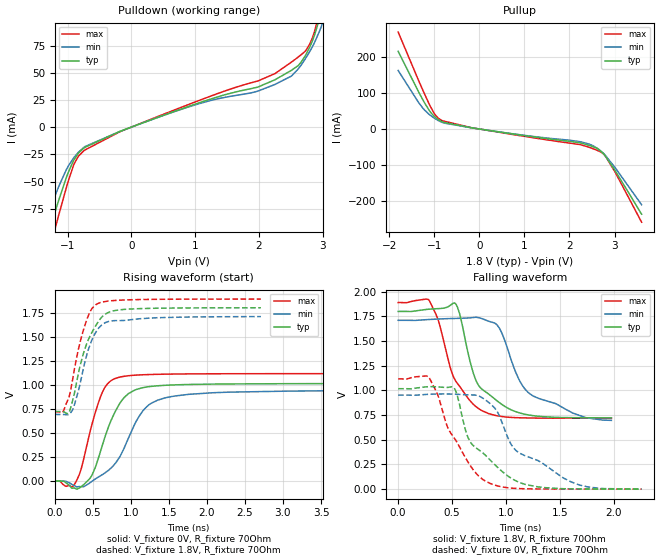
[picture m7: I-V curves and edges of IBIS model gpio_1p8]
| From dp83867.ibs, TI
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|   gpio_1p8 Model
[Model]   gpio_1p8
Model_type   Output
Polarity   Non-Inverting
Vmeas = 0.9
Vref = 0
Cref = 5pF
Rref = 70
|   typ   min   max
|   (nom PVT)   (fast PVT)   (slow PVT)
C_comp   1.627e-12   1.095e-12   1.665e-12
| Where nom  PVT is Nominal Process, 1.8V, 27C
|   Fast PVT is Strong Process,  1.89V, -40C
|   Slow PVT is Weak Process,   1.71V, 125C
[Voltage Range]   1.8   1.71   1.89
|Junction Temperature
[Temperature Range]   27   125   -40
[Pullup Reference]   1.8   1.71   1.89
[Pulldown Reference]   0   0   0
[Power Clamp Reference]   1.8   1.71   1.89
[GND Clamp Reference]   0   0   0
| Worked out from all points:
|   slope of the pulldown table from 0 to 0.27 V, typ, clamps not added: 46.2 ohm
|   slope of the pullup table from 0 to 0.27 V, typ, clamps not added: 53 ohm
|   falling waveform, V_fixture 1.8V, R_fixture 70Ohm: 20-80 % time 260ps typ, 373ps min, 240ps max; typ from 1.8 V to 0.722 V
|   rising waveform, V_fixture 0V, R_fixture 70Ohm: 20-80 % time 299ps typ, 391ps min, 232ps max; typ from 0 V to 1.01 V
|   rising waveform, V_fixture 1.8V, R_fixture 70Ohm: 20-80 % time 252ps typ, 217ps min, 201ps max; typ from 0.722 V to 1.8 V
|   falling waveform, V_fixture 0V, R_fixture 70Ohm: 20-80 % time 361ps typ, 502ps min, 293ps max; typ from 1.02 V to 0 V
[Pulldown]
|   Voltage   I(typ)   I(min)   I(max)
-1.8V     -197.7mA   -164.7mA   -231.2mA
-1.239V   -86.17mA   -69.87mA   -103.2mA
-1.172V   -73.47mA   -59.59mA   -88.27mA
-898.5mV  -29.94mA   -27.91mA   -34.03mA
-724.4mV  -18.49mA   -17.82mA   -20.95mA
837mV     17.77mA    17.4mA     19.44mA
2.252V    43.51mA    39.22mA    49.2mA
2.619V    56.63mA    53.54mA    64.47mA
2.747V    67.44mA    64.47mA    71.13mA
2.875V    84.71mA    77.88mA    88.12mA
2.978V    105mA      92.03mA    111.6mA
3.6V      261.3mA    214.8mA    299mA
[Pullup]
|   Voltage   I(typ)   I(min)   I(max)
-1.8V     216mA      162.8mA    269.7mA
-1.251V   80.98mA    57.9mA     107.5mA
-1.017V   37.29mA    31.91mA    46.96mA
-898.5mV  25.08mA    22.66mA    28.83mA
-781.2mV  18.24mA    16.48mA    21.77mA
-180mV    3.463mA    3.409mA    3.825mA
2.232V    -38.43mA   -35.31mA   -43.38mA
2.513V    -48.62mA   -46.02mA   -54.42mA
2.725V    -64.94mA   -64.46mA   -66.11mA
2.799V    -75.76mA   -73.97mA   -75.53mA
3.014V    -115.8mA   -107.8mA   -120.1mA
3.6V      -237mA     -210.8mA   -259.4mA
[Ramp]
R_load = 70
|   typ   min   max
dV/dt_r   0.609189/3.00493e-10   0.569268/3.8961e-10   0.669761/2.31793e-10
dV/dt_f   0.646877/2.60652e-10   0.611271/3.86232e-10   0.702931/2.39873e-10
[Falling Waveform]
V_fixture = 1.8V
V_fixture_min = 1.71V
V_fixture_max = 1.89V
R_fixture = 70Ohm
|   Time   V(typ)   V(min)   V(max)
0s        1.8V       1.71V      1.89V
290ps     1.823V     1.718V     1.907V
370ps     1.828V     1.723V     1.719V
530ps     1.882V     1.729V     1.103V
700ps     1.167V     1.739V     857mV
780ps     1.01V      1.726V     793.5mV
940ps     876mV      1.63V      738.8mV
1.09ns    785.2mV    1.187V     723.9mV
1.21ns    751.4mV    976.3mV    720.6mV
1.98ns    721.8mV    696.4mV    718.4mV
[Rising Waveform]
V_fixture = 0V
V_fixture_min = 0V
V_fixture_max = 0V
R_fixture = 70Ohm
|   Time   V(typ)   V(min)   V(max)
0s        50.3uV     144.3uV    36.17uV
250ps     -70.83mV   -43.73mV   -44.11mV
340ps     -64.05mV   -58.38mV   107.5mV
460ps     26.29mV    -19.56mV   499.5mV
650ps     433.1mV    79.19mV    960.5mV
850ps     799.9mV    245.8mV    1.078V
970ps     908.6mV    448.4mV    1.094V
1.16ns    969.9mV    730.4mV    1.104V
1.47ns    995mV      866.9mV    1.11V
5ns       1.012V     947.9mV    1.115V
[Rising Waveform]
V_fixture = 1.8V
V_fixture_min = 1.71V
V_fixture_max = 1.89V
R_fixture = 70Ohm
|   Time   V(typ)   V(min)   V(max)
0s        721.9mV    691.2mV    718.4mV
110ps     719.7mV    690.7mV    722.5mV
180ps     705mV      690.7mV    857.6mV
230ps     822mV      732.8mV    1.034V
310ps     1.115V     935.6mV    1.366V
390ps     1.357V     1.216V     1.602V
550ps     1.628V     1.558V     1.836V
670ps     1.736V     1.646V     1.865V
860ps     1.778V     1.666V     1.878V
2.71ns    1.799V     1.708V     1.89V
[Falling Waveform]
V_fixture = 0V
V_fixture_min = 0V
V_fixture_max = 0V
R_fixture = 70Ohm
|   Time   V(typ)   V(min)   V(max)
0s        1.017V     952.2mV    1.117V
280ps     1.037V     960.1mV    1.141V
510ps     1.032V     962.3mV    533.3mV
550ps     943mV      960.4mV    466.6mV
650ps     518.9mV    954.7mV    271.6mV
850ps     299mV      869.7mV    59.06mV
920ps     223.1mV    784.7mV    33.08mV
1.09ns    85.58mV    395.5mV    6.838mV
1.54ns    3.821mV    109.2mV    292.5uV
2.26ns    152uV      -666.1uV   29.73uV
